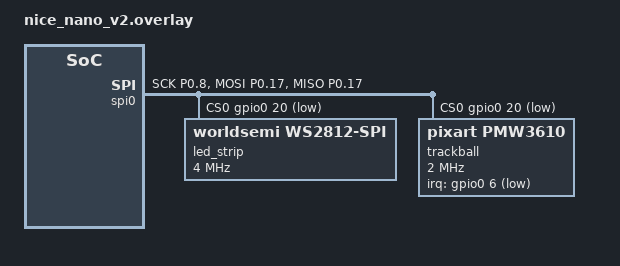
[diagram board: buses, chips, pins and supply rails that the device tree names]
#include <dt-bindings/led/led.h>

&pinctrl {
    spi0_default: spi0_default {
        group1 {
            psels = <NRF_PSEL(SPIM_SCK, 0, 8)>,
                <NRF_PSEL(SPIM_MOSI, 0, 17)>,
                <NRF_PSEL(SPIM_MISO, 0, 17)>;
        };
    };

    spi0_sleep: spi0_sleep {
        group1 {
            psels = <NRF_PSEL(SPIM_SCK, 0, 8)>,
                <NRF_PSEL(SPIM_MOSI, 0, 17)>,
                <NRF_PSEL(SPIM_MISO, 0, 17)>;
            low-power-enable;
        };
    };
};

&spi0 {
    status = "okay";
    compatible = "nordic,nrf-spim";
    pinctrl-0 = <&spi0_default>;
    pinctrl-1 = <&spi0_sleep>;
    pinctrl-names = "default", "sleep";
    cs-gpios = <&gpio0 20 GPIO_ACTIVE_LOW>;

    led_strip: ws2812@0 {
        compatible = "worldsemi,ws2812-spi";

        /* SPI */
        reg = <0>; /* ignored, but necessary for SPI bindings */
        spi-max-frequency = <4000000>;

        /* WS2812 */
        chain-length = <10>; /* arbitrary; change at will */
        spi-one-frame = <0x70>;
        spi-zero-frame = <0x40>;

        color-mapping = <LED_COLOR_ID_GREEN LED_COLOR_ID_RED LED_COLOR_ID_BLUE>;
    };
    
    trackball: trackball@0 {
        status = "okay";
        compatible = "pixart,pmw3610";
        reg = <0>;
        spi-max-frequency = <2000000>;
        irq-gpios = <&gpio0 6 (GPIO_ACTIVE_LOW | GPIO_PULL_UP)>;

        /*   optional features   */
        // snipe-layers = <1>;
        // scroll-layers = <2 3>;
        // automouse-layer = <4>;
    };
};

/ {
  trackball_listener {
    compatible = "zmk,input-listener";
    device = <&trackball>;

  };
};

/ {
    chosen {
        zmk,underglow = &led_strip;
    };
};
